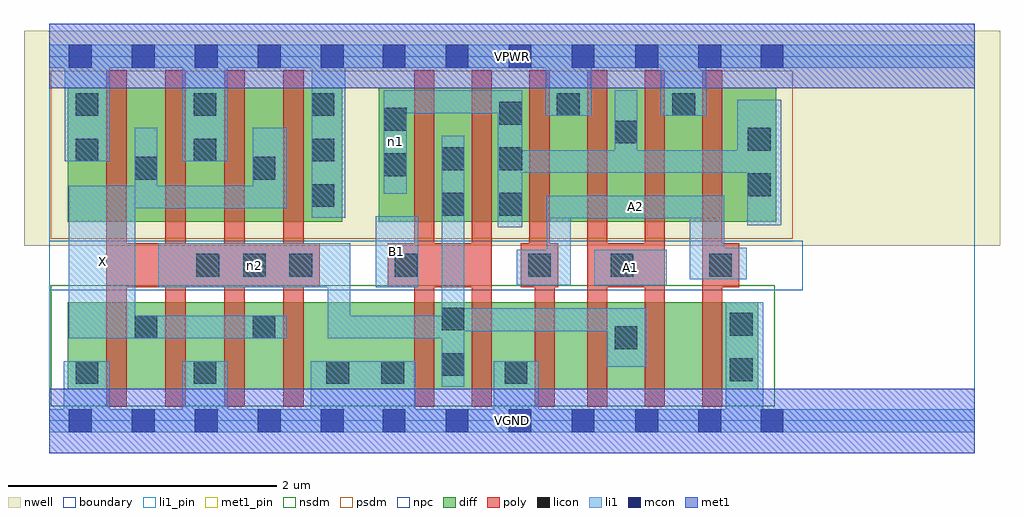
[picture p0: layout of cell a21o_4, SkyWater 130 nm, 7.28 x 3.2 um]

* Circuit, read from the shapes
.subckt a21o_4 A1 A2 B1 VGND VPWR X n1 n2
XM1 X n2 VGND VSUBS sky130_fd_pr__nfet_01v8 w=0.65 l=0.15 m=4
XM2 n2 B1 VGND VSUBS sky130_fd_pr__nfet_01v8 w=0.65 l=0.15 m=2
XM3 n3 A2 VGND VSUBS sky130_fd_pr__nfet_01v8 w=0.65 l=0.15
XM4 n2 A1 n3 VSUBS sky130_fd_pr__nfet_01v8 w=0.65 l=0.15
XM5 n4 A1 n2 VSUBS sky130_fd_pr__nfet_01v8 w=0.65 l=0.15
XM6 VGND A2 n4 VSUBS sky130_fd_pr__nfet_01v8 w=0.65 l=0.15
XM7 X n2 VPWR n5 sky130_fd_pr__pfet_01v8 w=1 l=0.15 m=4
XM8 n2 B1 n1 n5 sky130_fd_pr__pfet_01v8 w=1 l=0.15 m=2
XM9 VPWR A2 n1 n5 sky130_fd_pr__pfet_01v8 w=1 l=0.15 m=2
XM10 n1 A1 VPWR n5 sky130_fd_pr__pfet_01v8 w=1 l=0.15 m=2
.ends

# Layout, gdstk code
import gdstk
lib = gdstk.Library(unit=1e-6, precision=1e-09)
def R(c, l, rs):  # rectangles x0, y0, x1, y1
    for r in rs: c.add(gdstk.rectangle(r[:2], r[2:], *l))
def A(c, l, x, y, w, h, nx, ny, dx, dy):  # array of equal rectangles
    R(c, l, [(x+i*dx, y+j*dy, x+i*dx+w, y+j*dy+h) for i in range(nx) for j in range(ny)])
nwell = (64, 20)
diff = (65, 20)
poly = (66, 20)
licon = (66, 44)
li1_pin = (67, 16)
li1 = (67, 20)
mcon = (67, 44)
met1_pin = (68, 16)
met1 = (68, 20)
nsdm = (93, 44)
psdm = (94, 20)
npc = (95, 20)
boundary = (235, 4)

a21o_4 = lib.new_cell('a21o_4')
R(a21o_4, nwell, [(-0.19,1.305,7.09,2.91), (0,1.305,6.9,2.91)])
R(a21o_4, diff, [(0.135,0.235,5.285,0.885), (0.135,1.485,2.185,2.485), (2.455,1.485,5.42,2.485)])
A(a21o_4, poly, 0.425, 0.105, 0.15, 2.51, 4, 1, 0.44, 0)
A(a21o_4, poly, 4.01, 0.105, 0.15, 2.51, 3, 1, 0.43, 0)
R(a21o_4, poly, [(2.72,0.105,2.87,2.615), (3.15,0.105,3.3,2.615), (3.62,0.105,3.77,1.325), (0.425,0.995,2.015,1.325), (2.525,0.995,3.3,1.325), (3.515,0.995,3.795,1.325), (3.58,0.995,3.73,2.615), (4.01,0.995,4.59,1.325), (4.87,0.995,5.145,1.325)])
A(a21o_4, licon, 3.355, 1.53, 0.17, 0.17, 1, 3, 0, 0.34)
A(a21o_4, licon, 0.195, 1.935, 0.17, 0.17, 3, 2, 0.88, 0.34)
R(a21o_4, licon, [(0.195,0.275,0.365,0.445), (1.075,0.275,1.245,0.445), (2.065,0.275,2.235,0.445), (2.475,0.275,2.645,0.445), (3.395,0.275,3.565,0.445), (5.075,0.295,5.245,0.465), (2.925,0.335,3.095,0.505), (4.215,0.535,4.385,0.705), (0.635,0.615,0.805,0.785), (1.515,0.615,1.685,0.785), (5.075,0.635,5.245,0.805), (2.925,0.675,3.095,0.845), (1.095,1.075,1.265,1.245), (1.445,1.075,1.615,1.245), (1.79,1.075,1.96,1.245), (2.575,1.075,2.745,1.245), (3.57,1.075,3.74,1.245), (4.185,1.075,4.355,1.245), (4.92,1.075,5.09,1.245), (2.925,1.53,3.095,1.7), (1.955,1.595,2.125,1.765), (5.21,1.675,5.38,1.845), (0.635,1.8,0.805,1.97), (1.515,1.8,1.685,1.97), (2.495,1.825,2.665,1.995), (2.925,1.87,3.095,2.04), (5.21,2.015,5.38,2.185), (4.215,2.07,4.385,2.24), (2.495,2.165,2.665,2.335), (3.785,2.275,3.955,2.445), (4.645,2.275,4.815,2.445)])
R(a21o_4, li1_pin, [(0.145,0.615,0.64,1.755), (2.435,0.995,2.75,1.525), (4.065,1.01,4.605,1.275), (3.71,1.51,5.035,1.68)])
R(a21o_4, li1, [(0,-0.085,6.9,0.085), (0.105,-0.085,0.45,0.445), (0.99,-0.085,1.33,0.445), (1.95,-0.085,2.73,0.445), (3.315,-0.085,3.65,0.445), (5.045,-0.085,5.325,0.885), (2.925,0.255,3.095,2.125), (4.16,0.405,4.45,0.84), (0.145,0.615,0.64,1.755), (0.145,0.615,1.77,0.785), (2.075,0.615,3.095,0.785), (2.075,0.615,2.245,1.325), (2.925,0.67,4.45,0.84), (0.81,0.995,2.245,1.325), (2.435,0.995,2.75,1.525), (3.485,1.01,3.89,1.275), (3.71,1.01,3.89,1.68), (4.065,1.01,4.605,1.275), (4.775,1.055,5.035,1.68), (4.775,1.055,5.2,1.29), (3.345,1.445,3.525,2.465), (5.205,1.46,5.46,2.395), (3.71,1.51,5.035,1.68), (1.955,1.515,2.205,2.805), (0.145,1.585,1.77,1.755), (0.635,1.585,0.805,2.185), (1.515,1.585,1.77,2.185), (2.495,1.695,2.665,2.465), (3.345,1.85,5.46,2.02), (4.215,1.85,4.385,2.465), (5.13,1.85,5.46,2.395), (0.115,1.935,0.45,2.805), (0.99,1.935,1.33,2.805), (3.7,2.275,4.04,2.805), (4.56,2.275,4.9,2.805), (2.495,2.295,3.525,2.465), (0,2.635,6.9,2.805)])
A(a21o_4, mcon, 0.145, -0.085, 0.17, 0.17, 5, 2, 0.47, 2.72)
A(a21o_4, mcon, 2.485, -0.085, 0.17, 0.17, 4, 2, 0.47, 2.72)
R(a21o_4, mcon, [(4.37,-0.085,4.54,0.085), (4.84,-0.085,5.01,0.085), (5.305,-0.085,5.475,0.085), (4.37,2.635,4.54,2.805), (4.84,2.635,5.01,2.805), (5.305,2.635,5.475,2.805)])
R(a21o_4, met1_pin, [(0,-0.24,6.9,0.24), (0,2.48,6.9,2.96)])
R(a21o_4, met1, [(0,-0.24,6.9,0.24), (0,2.48,6.9,2.96)])
R(a21o_4, nsdm, [(0.01,0.11,5.41,1.01)])
R(a21o_4, psdm, [(0.01,1.36,5.545,2.61)])
R(a21o_4, npc, [(0,0.975,5.62,1.345)])
R(a21o_4, boundary, [(0,0,6.9,2.72)])
a21o_4.add(gdstk.Label('A1', (4.335,1.142), layer=67, texttype=5))
a21o_4.add(gdstk.Label('A2', (4.372,1.595), layer=67, texttype=5))
a21o_4.add(gdstk.Label('B1', (2.592,1.26), layer=67, texttype=5))
a21o_4.add(gdstk.Label('X', (0.392,1.185), layer=67, texttype=5))
a21o_4.add(gdstk.Label('n2', (1.527,1.16), layer=67, texttype=5))
a21o_4.add(gdstk.Label('n1', (2.58,2.08), layer=67, texttype=5))
a21o_4.add(gdstk.Label('VPWR', (3.45,2.72), layer=68, texttype=5))
a21o_4.add(gdstk.Label('VGND', (3.45,0), layer=68, texttype=5))
a21o_4.add(gdstk.Label('A1', (4.335,1.142), layer=67, texttype=16))
a21o_4.add(gdstk.Label('A2', (4.372,1.595), layer=67, texttype=16))
a21o_4.add(gdstk.Label('B1', (2.592,1.26), layer=67, texttype=16))
a21o_4.add(gdstk.Label('X', (0.392,1.185), layer=67, texttype=16))
a21o_4.add(gdstk.Label('VPWR', (3.45,2.72), layer=68, texttype=16))
a21o_4.add(gdstk.Label('VGND', (3.45,0), layer=68, texttype=16))

lib.write_gds('a21o_4.gds')
